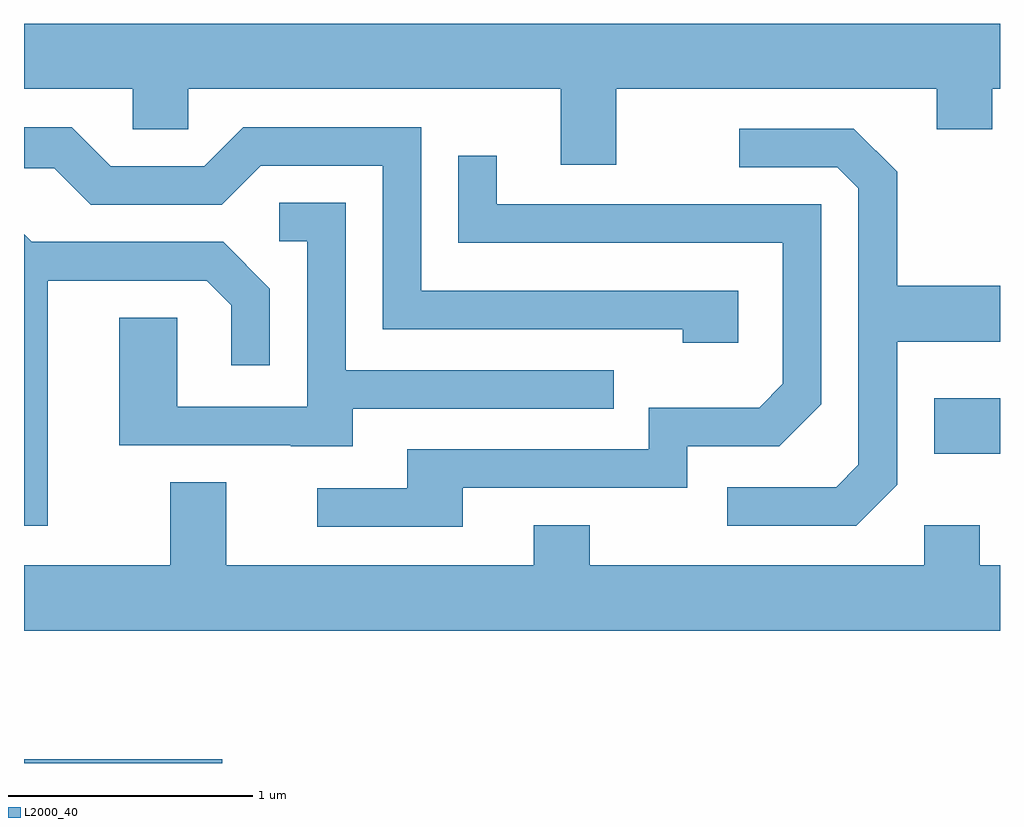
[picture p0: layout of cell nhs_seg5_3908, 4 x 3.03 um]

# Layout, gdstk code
import gdstk
lib = gdstk.Library(unit=1e-6, precision=1e-09)
def R(c, l, rs):  # rectangles x0, y0, x1, y1
    for r in rs: c.add(gdstk.rectangle(r[:2], r[2:], *l))
def P(c, l, *ps):  # polygons
    for p in ps: c.add(gdstk.Polygon(p, *l))
L2000_40 = (2000, 40)

nhs_seg5_3908 = lib.new_cell('nhs_seg5_3908')
R(nhs_seg5_3908, L2000_40, [(301.611,1414.072,302.424,1414.089), (305.341,1415.341,305.611,1415.569)])
P(nhs_seg5_3908, L2000_40, [(304.039,1416.836),(305.351,1416.836),(305.351,1416.671),(305.579,1416.671),(305.579,1416.836),(305.611,1416.836),(305.611,1417.104),(301.611,1417.104),(301.611,1416.836),(302.056,1416.836),(302.056,1416.671),(302.284,1416.671),(302.284,1416.836),(303.811,1416.836),(303.811,1416.526),(304.039,1416.526)],
  [(304.539,1416.009),(303.239,1416.009),(303.239,1416.679),(302.509,1416.679),(302.349,1416.519),(301.967,1416.519),(301.807,1416.679),(301.611,1416.679),(301.611,1416.511),(301.734,1416.511),(301.884,1416.361),(302.422,1416.361),(302.582,1416.521),(303.081,1416.521),(303.081,1415.851),(304.311,1415.851),(304.311,1415.796),(304.539,1415.796)],
  [(305.189,1415.214),(305.189,1415.801),(305.611,1415.801),(305.611,1416.029),(305.189,1416.029),(305.189,1416.497),(305.012,1416.674),(304.543,1416.674),(304.543,1416.516),(304.944,1416.516),(305.031,1416.429),(305.031,1415.297),(304.939,1415.204),(304.493,1415.204),(304.493,1415.046),(305.022,1415.046)],
  [(303.409,1415.201),(304.329,1415.201),(304.329,1415.371),(304.707,1415.371),(304.879,1415.544),(304.879,1416.364),(303.549,1416.364),(303.549,1416.563),(303.391,1416.563),(303.391,1416.206),(304.721,1416.206),(304.721,1415.627),(304.624,1415.529),(304.171,1415.529),(304.171,1415.359),(303.181,1415.359),(303.181,1415.199),(302.813,1415.199),(302.813,1415.041),(303.409,1415.041)],
  [(302.959,1415.526),(304.028,1415.526),(304.028,1415.684),(302.929,1415.684),(302.929,1416.369),(302.658,1416.369),(302.658,1416.211),(302.771,1416.211),(302.771,1415.534),(302.239,1415.534),(302.239,1415.899),(302.001,1415.899),(302.001,1415.376),(302.705,1415.376),(302.705,1415.371),(302.959,1415.371)],
  [(301.709,1416.051),(302.359,1416.051),(302.461,1415.949),(302.461,1415.703),(302.619,1415.703),(302.619,1416.017),(302.427,1416.209),(301.642,1416.209),(301.611,1416.24),(301.611,1415.046),(301.709,1415.046)],
  [(305.611,1414.884),(305.529,1414.884),(305.529,1415.049),(305.301,1415.049),(305.301,1414.884),(303.929,1414.884),(303.929,1415.049),(303.701,1415.049),(303.701,1414.884),(302.439,1414.884),(302.439,1415.224),(302.211,1415.224),(302.211,1414.884),(301.611,1414.884),(301.611,1414.616),(305.611,1414.616)])

lib.write_gds('nhs_seg5_3908.gds')
